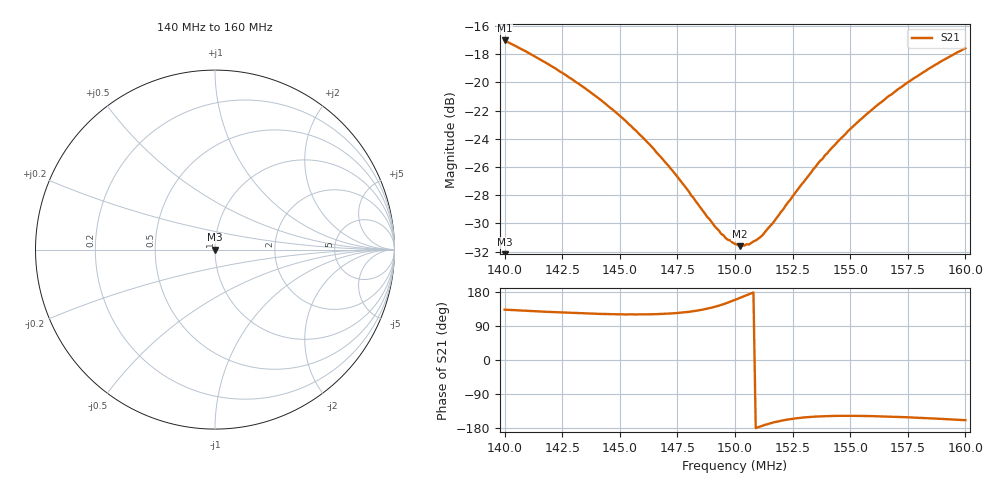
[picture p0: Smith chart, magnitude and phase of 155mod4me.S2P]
!Agilent Technologies,E5072A,MY51200456,A.01.14
!Date: Tue Nov 19 12:31:03 2019
!Data & Calibration Information:
!Freq	S11:NONE(--)	S21:NONE(--)	S12:NONE(--)	S22:NONE(--)
!PortZ  Port1:50+j0  Port2:50+j0
!Above PortZ is port z conversion or system Z0 setting when saving the data.
!When reading, reference impedance value at option line is always used.
# Hz S RI R 50
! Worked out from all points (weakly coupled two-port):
!   201 points, 140 MHz to 160 MHz, reference 50 ohm
!   highest |S21| = -17.02 dB at 140 MHz (marker M1); lowest = -31.6 dB at 150.2 MHz (marker M2)
!   lowest |S11| = - dB at 140 MHz (marker M3), VSWR 1.00, Z = 50 + j0 ohm
!   |S11| at or under -10 dB: start of sweep to end of sweep
!   S12 and S22 are empty: the file has one direction only
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1.4e8  0 0  -0.0958 0.1033  0 0  0 0
1.419e8  0 0  -0.0699 0.0927  0 0  0 0
1.434e8  0 0  -0.0529 0.0808  0 0  0 0
1.442e8  0 0  -0.0451 0.0737  0 0  0 0
1.452e8  0 0  -0.0372 0.0636  0 0  0 0
1.463e8  0 0  -0.0306 0.0519  0 0  0 0
1.467e8  0 0  -0.0287 0.0473  0 0  0 0
1.478e8  0 0  -0.0253 0.0349  0 0  0 0
1.488e8  0 0  -0.0238 0.0233  0 0  0 0
1.494e8  0 0  -0.0239 0.0165  0 0  0 0
1.5e8  0 0  -0.0249 0.00975  0 0  0 0
1.502e8  0 0  -0.0252 0.0074  0 0  0 0
1.506e8  0 0  -0.0265 0.00306  0 0  0 0
1.512e8  0 0  -0.0286 -0.00329  0 0  0 0
1.517e8  0 0  -0.0309 -0.00874  0 0  0 0
1.534e8  0 0  -0.0425 -0.0248  0 0  0 0
1.539e8  0 0  -0.0469 -0.029  0 0  0 0
1.549e8  0 0  -0.0564 -0.0364  0 0  0 0
1.557e8  0 0  -0.0651 -0.0413  0 0  0 0
1.567e8  0 0  -0.0774 -0.0456  0 0  0 0
1.584e8  0 0  -0.1002 -0.0495  0 0  0 0
1.6e8  0 0  -0.1234 -0.0477  0 0  0 0
